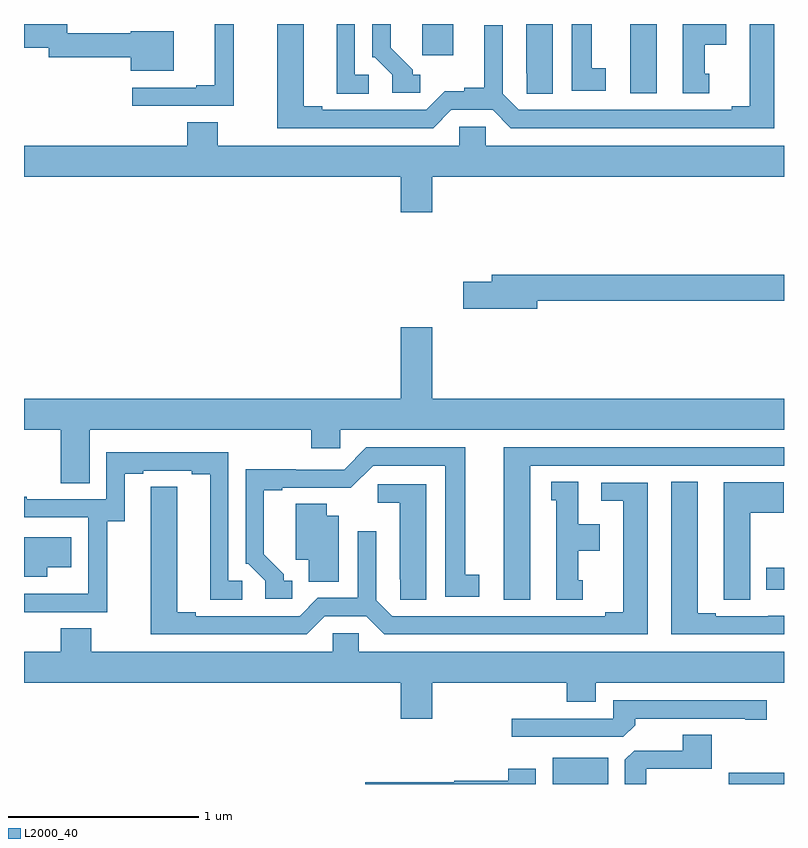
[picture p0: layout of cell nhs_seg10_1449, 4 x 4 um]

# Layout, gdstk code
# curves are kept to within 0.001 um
import gdstk
lib = gdstk.Library(unit=1e-6, precision=1e-09)
def R(c, l, rs):  # rectangles x0, y0, x1, y1
    for r in rs: c.add(gdstk.rectangle(r[:2], r[2:], *l))
def P(c, l, *ps):  # polygons
    for p in ps: c.add(gdstk.Polygon(p, *l))
L2000_40 = (2000, 40)

nhs_seg10_1449 = lib.new_cell('nhs_seg10_1449')
R(nhs_seg10_1449, L2000_40, [(189.782,1250.5,190.075,1250.638), (190.71,1250.5,191,1250.56), (190.907,1251.522,191,1251.639), (190.19,1254.135,190.33,1254.5)])
P(nhs_seg10_1449, L2000_40, [(190.063,1254.266),(189.988,1254.266),(189.988,1254.5),(189.884,1254.5),(189.884,1254.15),(190.063,1254.15)],
  [(189.085,1254.234),(189.046,1254.234),(189.046,1254.258),(188.929,1254.374),(188.929,1254.5),(188.832,1254.5),(188.832,1254.324),(188.847,1254.324),(188.937,1254.234),(188.937,1254.138),(189.085,1254.138)],
  [(187.789,1254.463),(187.562,1254.463),(187.562,1254.452),(187.227,1254.452),(187.227,1254.5),(187,1254.5),(187,1254.376),(187.131,1254.376),(187.131,1254.324),(187.562,1254.324),(187.562,1254.254),(187.789,1254.254)],
  [(190.606,1254.237),(190.582,1254.237),(190.582,1254.392),(190.696,1254.392),(190.696,1254.5),(190.466,1254.5),(190.466,1254.135),(190.606,1254.135)],
  [(189.259,1254.48),(189.258,1254.48),(189.258,1254.5),(189.095,1254.5),(189.095,1254.336),(189.259,1254.336)],
  [(189.249,1254.048),(189.467,1254.048),(189.563,1253.952),(190.948,1253.952),(190.948,1254.5),(190.82,1254.5),(190.82,1254.068),(190.724,1254.068),(190.724,1254.048),(189.603,1254.048),(189.519,1254.132),(189.519,1254.493),(189.422,1254.493),(189.422,1254.164),(189.318,1254.164),(189.318,1254.146),(189.215,1254.146),(189.117,1254.048),(188.569,1254.048),(188.569,1254.068),(188.473,1254.068),(188.473,1254.5),(188.333,1254.5),(188.333,1253.952),(189.153,1253.952)],
  [(188.103,1254.5),(188.003,1254.5),(188.003,1254.178),(187.907,1254.178),(187.907,1254.165),(187.569,1254.165),(187.569,1254.069),(188.103,1254.069)],
  [(188.815,1254.234),(188.742,1254.234),(188.742,1254.5),(188.645,1254.5),(188.645,1254.133),(188.815,1254.133)],
  [(189.784,1254.5),(189.644,1254.5),(189.644,1254.241),(189.645,1254.241),(189.645,1254.133),(189.784,1254.133)],
  [(189.148,1253.696),(191,1253.696),(191,1253.86),(189.429,1253.86),(189.429,1253.958),(189.291,1253.958),(189.291,1253.86),(188.019,1253.86),(188.019,1253.984),(187.859,1253.984),(187.859,1253.86),(187,1253.86),(187,1253.696),(188.984,1253.696),(188.984,1253.508),(189.148,1253.508)],
  [(189.7,1253.044),(191,1253.044),(191,1253.18),(189.461,1253.18),(189.461,1253.144),(189.312,1253.144),(189.312,1253.002),(189.7,1253.002)],
  [(187.345,1252.364),(188.513,1252.364),(188.513,1252.266),(188.664,1252.266),(188.664,1252.364),(191,1252.364),(191,1252.528),(189.148,1252.528),(189.148,1252.903),(188.984,1252.903),(188.984,1252.528),(187,1252.528),(187,1252.364),(187.193,1252.364),(187.193,1252.084),(187.345,1252.084)],
  [(188.413,1251.57),(188.368,1251.57),(188.368,1251.605),(188.263,1251.71),(188.263,1252.047),(188.359,1252.047),(188.359,1252.059),(188.72,1252.058),(188.838,1252.176),(189.218,1252.176),(189.218,1251.486),(189.397,1251.486),(189.397,1251.602),(189.322,1251.602),(189.322,1252.272),(188.802,1252.272),(188.685,1252.155),(188.429,1252.155),(188.429,1252.157),(188.166,1252.157),(188.166,1251.66),(188.181,1251.66),(188.271,1251.57),(188.271,1251.474),(188.413,1251.474)],
  [(189.664,1252.176),(191,1252.176),(191,1252.272),(189.524,1252.272),(189.524,1251.471),(189.664,1251.471)],
  [(187.437,1251.883),(187.531,1251.883),(187.531,1252.134),(187.627,1252.134),(187.627,1252.149),(187.883,1252.149),(187.883,1252.129),(187.979,1252.129),(187.979,1251.469),(188.149,1251.469),(188.149,1251.57),(188.076,1251.57),(188.076,1252.245),(187.434,1252.245),(187.434,1251.999),(187.015,1251.999),(187.015,1252.012),(187,1252.012),(187,1251.903),(187.338,1251.903),(187.338,1251.502),(187.337,1251.502),(187.337,1251.501),(187,1251.501),(187,1251.405),(187.437,1251.405)],
  [(191,1251.385),(190.918,1251.385),(190.918,1251.384),(190.642,1251.384),(190.642,1251.399),(190.546,1251.399),(190.546,1252.091),(190.406,1252.091),(190.406,1251.288),(191,1251.288)],
  [(189.94,1251.573),(189.916,1251.573),(189.916,1251.728),(190.03,1251.728),(190.03,1251.868),(189.916,1251.868),(189.916,1252.091),(189.776,1252.091),(189.776,1251.993),(189.8,1251.993),(189.8,1251.471),(189.94,1251.471)],
  [(190.822,1251.928),(190.999,1251.928),(190.999,1252.087),(190.682,1252.087),(190.682,1251.577),(190.683,1251.577),(190.683,1251.469),(190.822,1251.469)],
  [(188.583,1251.384),(188.801,1251.384),(188.897,1251.288),(190.282,1251.288),(190.282,1252.086),(190.038,1252.086),(190.038,1251.99),(190.154,1251.99),(190.154,1251.404),(190.058,1251.404),(190.058,1251.384),(188.937,1251.384),(188.853,1251.468),(188.853,1251.829),(188.757,1251.829),(188.757,1251.48),(188.547,1251.48),(188.451,1251.384),(187.903,1251.384),(187.903,1251.404),(187.807,1251.404),(187.807,1252.064),(187.668,1252.064),(187.667,1251.288),(188.487,1251.288)],
  [(189.118,1252.077),(188.862,1252.077),(188.862,1251.98),(188.978,1251.98),(188.978,1251.577),(188.979,1251.577),(188.979,1251.469),(189.118,1251.469)],
  [(188.656,1251.913),(188.593,1251.913),(188.593,1251.974),(188.429,1251.974),(188.429,1251.68),(188.498,1251.68),(188.498,1251.565),(188.656,1251.565)],
  [(187.123,1251.641),(187.249,1251.641),(187.249,1251.799),(187,1251.799),(187,1251.59),(187.123,1251.59)],
  [(189.148,1251.032),(189.857,1251.032),(189.857,1250.933),(190.009,1250.933),(190.009,1251.032),(191,1251.032),(191,1251.196),(188.763,1251.196),(188.763,1251.294),(188.625,1251.294),(188.625,1251.196),(187.353,1251.196),(187.353,1251.32),(187.193,1251.32),(187.193,1251.196),(187,1251.196),(187,1251.032),(188.984,1251.032),(188.984,1250.844),(189.148,1250.844)],
  [(190.217,1250.81),(190.217,1250.844),(190.796,1250.844),(190.796,1250.839),(190.909,1250.839),(190.909,1250.94),(190.101,1250.94),(190.101,1250.844),(189.567,1250.844),(189.567,1250.748),(190.155,1250.748)],
  [(190.275,1250.58),(190.619,1250.58),(190.619,1250.759),(190.466,1250.759),(190.466,1250.676),(190.212,1250.676),(190.163,1250.627),(190.163,1250.5),(190.275,1250.5)],
  [(189.694,1250.581),(189.548,1250.581),(189.548,1250.516),(189.264,1250.516),(189.264,1250.509),(188.795,1250.509),(188.795,1250.5),(189.694,1250.5)])

lib.write_gds('nhs_seg10_1449.gds')
